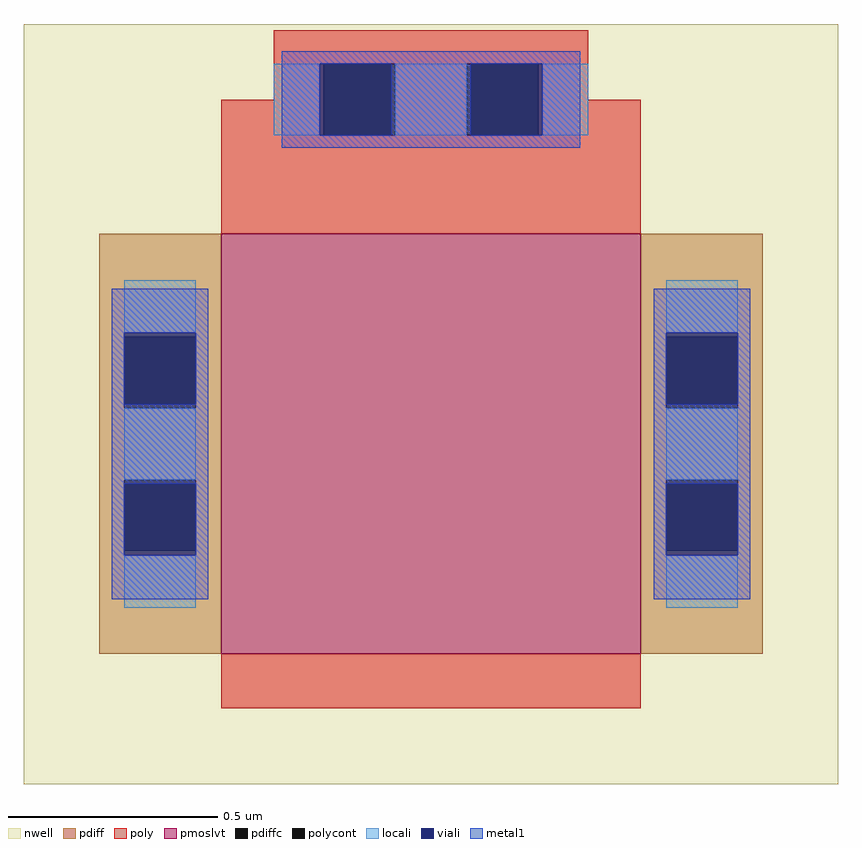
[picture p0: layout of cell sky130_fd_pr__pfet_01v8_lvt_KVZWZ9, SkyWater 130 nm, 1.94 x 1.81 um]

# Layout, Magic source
magic
tech sky130A
magscale 1 2
<< nwell >>
rect -194 -198 194 164
<< pmoslvt >>
rect -100 -136 100 64
<< pdiff >>
rect -158 15 -100 64
rect -158 -19 -146 15
rect -112 -19 -100 15
rect -158 -53 -100 -19
rect -158 -87 -146 -53
rect -112 -87 -100 -53
rect -158 -136 -100 -87
rect 100 15 158 64
rect 100 -19 112 15
rect 146 -19 158 15
rect 100 -53 158 -19
rect 100 -87 112 -53
rect 146 -87 158 -53
rect 100 -136 158 -87
<< pdiffc >>
rect -146 -19 -112 15
rect -146 -87 -112 -53
rect 112 -19 146 15
rect 112 -87 146 -53
<< poly >>
rect -75 145 75 161
rect -75 128 -51 145
rect -100 111 -51 128
rect -17 111 17 145
rect 51 128 75 145
rect 51 111 100 128
rect -100 64 100 111
rect -100 -162 100 -136
<< polycont >>
rect -51 111 -17 145
rect 17 111 51 145
<< locali >>
rect -75 111 -53 145
rect -17 111 17 145
rect 53 111 75 145
rect -146 17 -112 42
rect -146 -53 -112 -19
rect -146 -114 -112 -89
rect 112 17 146 42
rect 112 -53 146 -19
rect 112 -114 146 -89
<< viali >>
rect -53 111 -51 145
rect -51 111 -19 145
rect 19 111 51 145
rect 51 111 53 145
rect -146 15 -112 17
rect -146 -17 -112 15
rect -146 -87 -112 -55
rect -146 -89 -112 -87
rect 112 15 146 17
rect 112 -17 146 15
rect 112 -87 146 -55
rect 112 -89 146 -87
<< metal1 >>
rect -71 145 71 151
rect -71 111 -53 145
rect -19 111 19 145
rect 53 111 71 145
rect -71 105 71 111
rect -152 17 -106 38
rect -152 -17 -146 17
rect -112 -17 -106 17
rect -152 -55 -106 -17
rect -152 -89 -146 -55
rect -112 -89 -106 -55
rect -152 -110 -106 -89
rect 106 17 152 38
rect 106 -17 112 17
rect 146 -17 152 17
rect 106 -55 152 -17
rect 106 -89 112 -55
rect 146 -89 152 -55
rect 106 -110 152 -89
<< end >>
